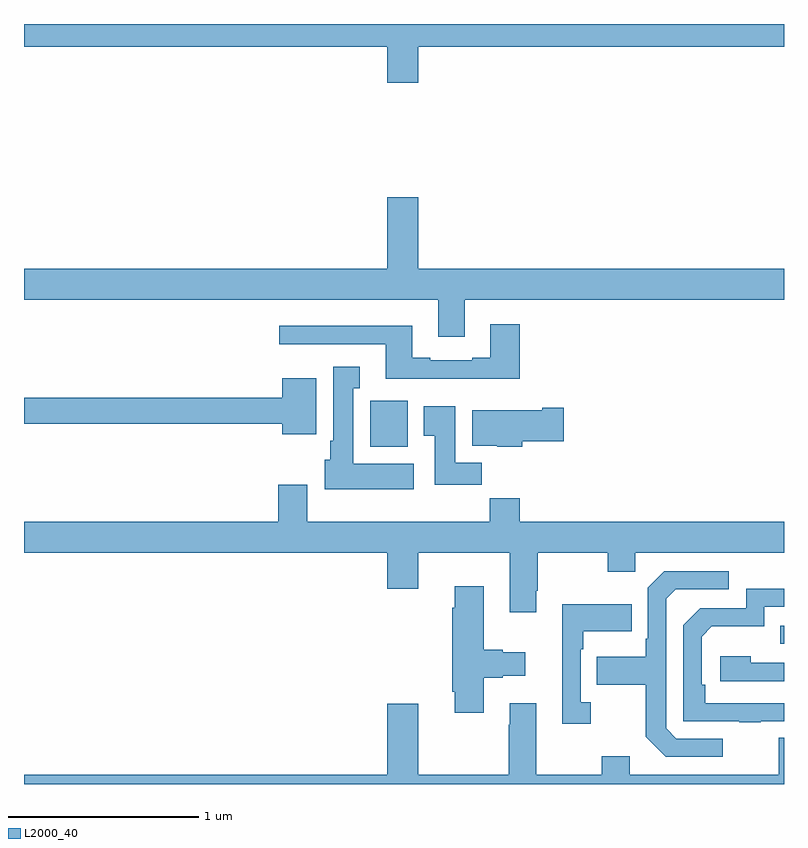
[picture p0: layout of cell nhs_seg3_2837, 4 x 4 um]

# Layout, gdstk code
import gdstk
lib = gdstk.Library(unit=1e-6, precision=1e-09)
def R(c, l, rs):  # rectangles x0, y0, x1, y1
    for r in rs: c.add(gdstk.rectangle(r[:2], r[2:], *l))
def P(c, l, *ps):  # polygons
    for p in ps: c.add(gdstk.Polygon(p, *l))
L2000_40 = (2000, 40)

nhs_seg3_2837 = lib.new_cell('nhs_seg3_2837')
R(nhs_seg3_2837, L2000_40, [(262.981,667.137,263,667.233), (260.822,668.174,261.019,668.416)])
P(nhs_seg3_2837, L2000_40, [(261.076,670.28),(263,670.28),(263,670.4),(259,670.4),(259,670.28),(260.912,670.28),(260.912,670.092),(261.076,670.092)],
  [(261.319,668.948),(263,668.948),(263,669.112),(261.076,669.112),(261.076,669.487),(260.912,669.487),(260.912,669.112),(259,669.112),(259,668.948),(261.179,668.948),(261.179,668.754),(261.319,668.754)],
  [(261.608,668.821),(261.455,668.821),(261.455,668.644),(261.359,668.644),(261.359,668.631),(261.139,668.631),(261.139,668.644),(261.043,668.644),(261.043,668.812),(260.343,668.812),(260.343,668.715),(260.903,668.715),(260.903,668.534),(261.608,668.534)],
  [(261.052,668.086),(260.734,668.086),(260.734,668.483),(260.767,668.483),(260.767,668.596),(260.627,668.596),(260.627,668.206),(260.612,668.206),(260.612,668.106),(260.582,668.106),(260.582,667.952),(261.052,667.952)],
  [(260.539,668.536),(260.36,668.536),(260.36,668.432),(259,668.432),(259,668.296),(260.36,668.296),(260.36,668.24),(260.539,668.24)],
  [(261.41,668.092),(261.271,668.092),(261.271,668.389),(261.104,668.389),(261.104,668.233),(261.161,668.233),(261.161,667.974),(261.41,667.974)],
  [(261.623,668.203),(261.841,668.203),(261.841,668.381),(261.728,668.381),(261.728,668.368),(261.359,668.368),(261.359,668.18),(261.492,668.18),(261.492,668.174),(261.623,668.174)],
  [(261.697,667.417),(261.705,667.417),(261.705,667.616),(262.072,667.616),(262.072,667.517),(262.218,667.517),(262.218,667.616),(263,667.616),(263,667.78),(261.608,667.78),(261.608,667.904),(261.451,667.904),(261.451,667.78),(260.491,667.78),(260.491,667.975),(260.339,667.975),(260.339,667.78),(259,667.78),(259,667.616),(260.912,667.616),(260.912,667.428),(261.076,667.428),(261.076,667.616),(261.557,667.616),(261.557,667.305),(261.697,667.305)],
  [(262.678,666.639),(262.434,666.639),(262.38,666.693),(262.38,667.374),(262.431,667.425),(262.708,667.425),(262.708,667.521),(262.371,667.521),(262.284,667.434),(262.284,667.165),(262.272,667.165),(262.272,667.069),(262.015,667.069),(262.015,666.922),(262.272,666.922),(262.272,666.649),(262.377,666.543),(262.678,666.543)],
  [(261.421,666.959),(261.521,666.959),(261.521,666.971),(261.637,666.971),(261.637,667.093),(261.521,667.093),(261.521,667.106),(261.421,667.106),(261.421,667.441),(261.266,667.441),(261.266,667.328),(261.254,667.328),(261.254,666.886),(261.266,666.886),(261.266,666.774),(261.421,666.774)],
  [(262.877,666.729),(263,666.729),(263,666.825),(262.586,666.825),(262.586,666.922),(262.566,666.922),(262.566,667.176),(262.619,667.229),(262.896,667.229),(262.896,667.332),(263,667.332),(263,667.428),(262.8,667.428),(262.8,667.326),(262.56,667.326),(262.47,667.236),(262.47,666.729),(262.765,666.729),(262.765,666.724),(262.877,666.724)],
  [(261.982,666.83),(261.93,666.83),(261.93,667.109),(261.943,667.109),(261.943,667.205),(262.199,667.205),(262.199,667.345),(261.833,667.345),(261.833,666.717),(261.982,666.717)],
  [(263,667.038),(262.826,667.038),(262.826,667.072),(262.665,667.072),(262.665,666.942),(263,666.942)],
  [(263,666.643),(262.973,666.643),(262.973,666.448),(262.189,666.448),(262.189,666.547),(262.041,666.547),(262.041,666.448),(261.697,666.448),(261.697,666.826),(261.557,666.826),(261.557,666.713),(261.55,666.713),(261.55,666.448),(261.076,666.448),(261.076,666.823),(260.912,666.823),(260.912,666.448),(259,666.448),(259,666.4),(263,666.4)])

lib.write_gds('nhs_seg3_2837.gds')
